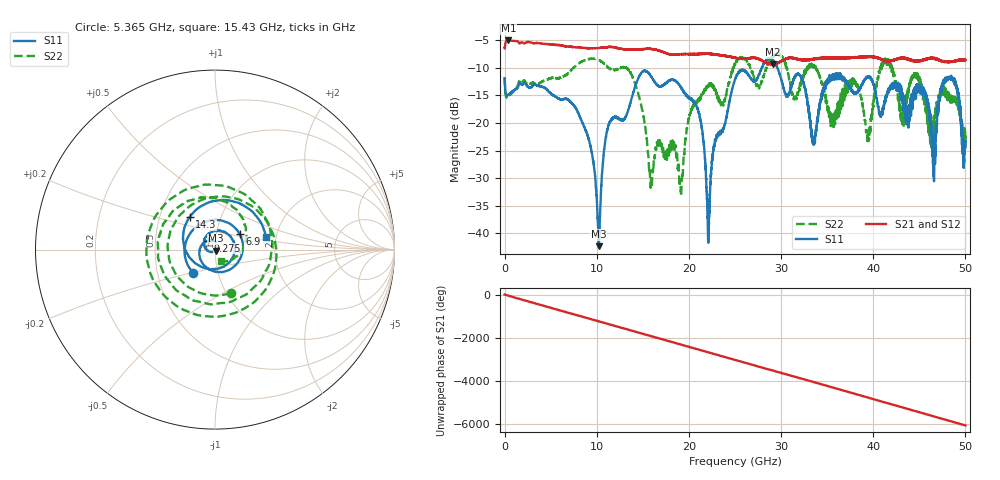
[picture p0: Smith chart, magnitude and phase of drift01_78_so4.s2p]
!Created with skrf (http://scikit-rf.org).
# Hz S RI R 50.0
!freq ReS11 ImS11 ReS21 ImS21 ReS12 ImS12 ReS22 ImS22
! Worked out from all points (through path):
!   10001 points, 300 kHz to 50 GHz, reference 50 ohm
!   highest |S21| = -5.05 dB at 410.3 MHz (marker M1); lowest = -9.4 dB at 29.12 GHz (marker M2)
!   group delay of S21, straight-line fit = 336 ps
!   lowest |S11| = -42.3 dB at 10.22 GHz (marker M3), VSWR 1.02, Z = 50.5 - j0.565 ohm
!   |S11| at or under -10 dB: start of sweep to 27.9 GHz; 29.59506 GHz to 29.59553 GHz (475.1 kHz wide, 0.00161 % of centre); 29.6 GHz to end of sweep
!   |S22| runs from -33.1 to -7.4 dB; largest |S21 - S12| = 0.013
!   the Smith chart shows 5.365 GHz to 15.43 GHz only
!   S11 on the Smith chart (normalised r, x): 5.365 GHz: 0.76, -0.20; 6.9 GHz: 1.29, +0.23; 9.275 GHz: 0.92, +0.09; 14.3 GHz: 0.71, +0.27; 15.43 GHz: 1.77, +0.28
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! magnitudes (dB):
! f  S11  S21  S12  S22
! 300 kHz  -12.0  -6.4  -6.5  -11.7
! 410.3 MHz  -14.8  -5.1  -5.1  -15.1
! 5.365 GHz  -15.0  -5.8  -5.8  -11.8
! 6.9 GHz  -15.8  -6.1  -6.1  -11.0
! 8.335 GHz  -19.5  -6.4  -6.4  -8.9
! 9.275 GHz  -24.0  -6.4  -6.4  -8.4
! 10.22 GHz  -42.3  -6.4  -6.4  -8.6
! 11.23 GHz  -20.6  -6.2  -6.2  -9.9
! 14.3 GHz  -12.8  -6.7  -6.7  -13.5
! 15.43 GHz  -10.7  -6.6  -6.6  -22.9
! 16.67 GHz  -13.3  -6.8  -6.8  -23.3
! 19.15 GHz  -13.6  -7.5  -7.5  -32.9
! 20.85 GHz  -17.0  -7.5  -7.6  -16.0
! 22.12 GHz  -40.9  -7.5  -7.4  -13.3
! 25 GHz  -12.1  -8.2  -8.2  -9.3
! 29.12 GHz  -8.6  -9.4  -9.4  -7.9
! 33.34 GHz  -22.7  -8.5  -8.4  -9.6
! 39.46 GHz  -11.5  -7.9  -8.0  -21.8
! 41.67 GHz  -13.8  -8.8  -8.7  -9.0
! 46.56 GHz  -25.4  -8.3  -8.2  -20.6
! 48.55 GHz  -11.7  -8.9  -8.9  -16.0
! 50 GHz  -23.2  -8.6  -8.6  -22.8
